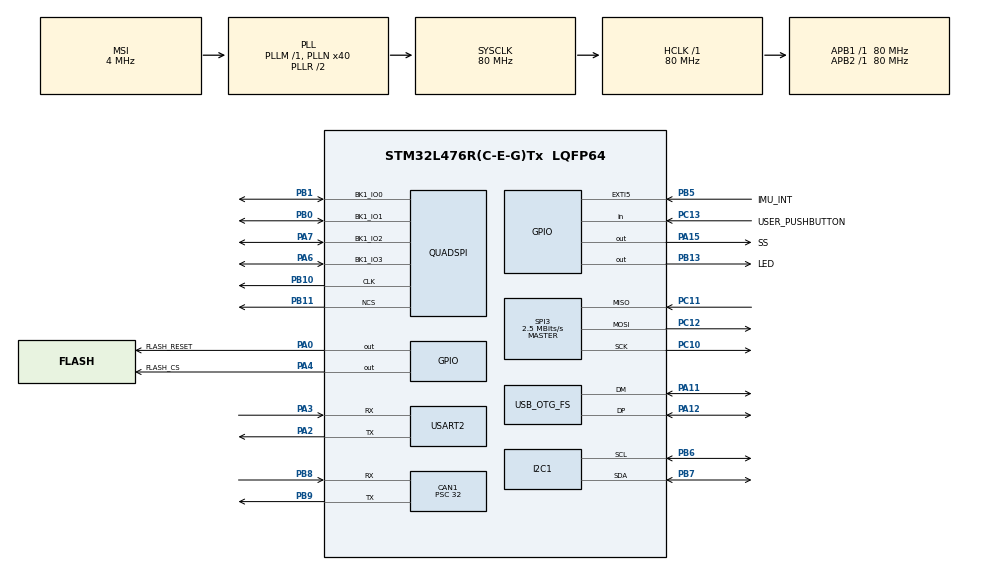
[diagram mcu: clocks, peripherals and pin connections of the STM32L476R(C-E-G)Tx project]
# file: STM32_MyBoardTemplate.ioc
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CAN1.BS1=CAN_BS1_1TQ
CAN1.BS2=CAN_BS2_1TQ
CAN1.CalculateBaudRate=833333
CAN1.CalculateTimeBit=1200
CAN1.CalculateTimeQuantum=400.0
CAN1.Prescaler=32
I2C1.Timing=0x10909CEC
Mcu.Family=STM32L4
Mcu.Name=STM32L476R(C-E-G)Tx
Mcu.Package=LQFP64
NVIC.EXTI9_5_IRQn=true\:0\:0\:false\:false\:true\:true\:true\:true
NVIC.OTG_FS_IRQn=true\:0\:0\:false\:false\:true\:false\:true\:true
NVIC.PriorityGroup=NVIC_PRIORITYGROUP_4
NVIC.SPI3_IRQn=true\:0\:0\:false\:false\:true\:true\:true\:true
PA0.GPIO_Label=FLASH_RESET
PA0.Signal=GPIO_Output
PA11.Mode=Device_Only
PA11.Signal=USB_OTG_FS_DM
PA12.Mode=Device_Only
PA12.Signal=USB_OTG_FS_DP
PA13\ (JTMS-SWDIO).Mode=Serial_Wire
PA13\ (JTMS-SWDIO).Signal=SYS_JTMS-SWDIO
PA14\ (JTCK-SWCLK).Mode=Serial_Wire
PA14\ (JTCK-SWCLK).Signal=SYS_JTCK-SWCLK
PA15\ (JTDI).GPIO_Label=SS
PA15\ (JTDI).Signal=GPIO_Output
PA2.Mode=Asynchronous
PA2.Signal=USART2_TX
PA3.Mode=Asynchronous
PA3.Signal=USART2_RX
PA4.GPIO_Label=FLASH_CS
PA4.Signal=GPIO_Output
PA6.Mode=Single Bank
PA6.Signal=QUADSPI_BK1_IO3
PA7.Mode=Single Bank
PA7.Signal=QUADSPI_BK1_IO2
PB0.Mode=Single Bank
PB0.Signal=QUADSPI_BK1_IO1
PB1.Mode=Single Bank
PB1.Signal=QUADSPI_BK1_IO0
PB10.Mode=Single Bank
PB10.Signal=QUADSPI_CLK
PB11.Mode=Single Bank
PB11.Signal=QUADSPI_NCS
PB13.GPIO_Label=LED
PB13.Signal=GPIO_Output
PB5.GPIO_Label=IMU_INT
PB5.Signal=GPXTI5
PB6.Mode=I2C
PB6.Signal=I2C1_SCL
PB7.Mode=I2C
PB7.Signal=I2C1_SDA
PB8.Mode=CAN_Activate
PB8.Signal=CAN1_RX
PB9.Mode=CAN_Activate
PB9.Signal=CAN1_TX
PC10.Mode=Full_Duplex_Master
PC10.Signal=SPI3_SCK
PC11.Mode=Full_Duplex_Master
PC11.Signal=SPI3_MISO
PC12.Mode=Full_Duplex_Master
PC12.Signal=SPI3_MOSI
PC13.GPIO_Label=USER_PUSHBUTTON
PC13.Signal=GPIO_Input
PC14-OSC32_IN\ (PC14).Mode=LSE-External-Oscillator
PC14-OSC32_IN\ (PC14).Signal=RCC_OSC32_IN
PC15-OSC32_OUT\ (PC15).Mode=LSE-External-Oscillator
PC15-OSC32_OUT\ (PC15).Signal=RCC_OSC32_OUT
PH0-OSC_IN\ (PH0).Mode=HSE-External-Oscillator
PH0-OSC_IN\ (PH0).Signal=RCC_OSC_IN
PH1-OSC_OUT\ (PH1).Mode=HSE-External-Oscillator
PH1-OSC_OUT\ (PH1).Signal=RCC_OSC_OUT
ProjectManager.HeapSize=0x2000
ProjectManager.StackSize=0x400
ProjectManager.TargetToolchain=STM32CubeIDE
RCC.ADCFreq_Value=48000000
RCC.AHBFreq_Value=80000000
RCC.APB1Freq_Value=80000000
RCC.APB1TimFreq_Value=80000000
RCC.APB2Freq_Value=80000000
RCC.APB2TimFreq_Value=80000000
RCC.CortexFreq_Value=80000000
RCC.HCLKFreq_Value=80000000
RCC.HSE_VALUE=25000000
RCC.HSI_VALUE=16000000
RCC.MSI_VALUE=4000000
RCC.PLLN=40
RCC.PLLSAI1N=24
RCC.SYSCLKFreq_VALUE=80000000
RCC.SYSCLKSource=RCC_SYSCLKSOURCE_PLLCLK
RCC.USBFreq_Value=48000000
RCC.VCOOutputFreq_Value=160000000
SPI3.BaudRatePrescaler=SPI_BAUDRATEPRESCALER_32
SPI3.CalculateBaudRate=2.5 MBits/s
SPI3.DataSize=SPI_DATASIZE_8BIT
SPI3.Direction=SPI_DIRECTION_2LINES
SPI3.Mode=SPI_MODE_MASTER
SPI3.NSSPMode=SPI_NSS_PULSE_ENABLE
SPI3.VirtualType=VM_MASTER
USART2.VirtualMode-Asynchronous=VM_ASYNC
USB_DEVICE.CLASS_NAME_FS=CDC
USB_DEVICE.PRODUCT_STRING_CDC_FS=STM32 Virtual PORT
USB_DEVICE.VirtualMode=Cdc
USB_DEVICE.VirtualModeFS=Cdc_FS
USB_OTG_FS.VirtualMode=Device_Only
VP_USB_DEVICE_VS_USB_DEVICE_CDC_FS.Mode=CDC_FS
board=custom

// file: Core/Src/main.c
/* USER CODE BEGIN Header */
/**
  ******************************************************************************
  * @file           : main.c
  * @brief          : Main program body
  ******************************************************************************
  * @attention
  *
  * Copyright (c) 2023 STMicroelectronics.
  * All rights reserved.
  *
  * This software is licensed under terms that can be found in the LICENSE file
  * in the root directory of this software component.
  * If no LICENSE file comes with this software, it is provided AS-IS.
  *
  ******************************************************************************
  */
/* USER CODE END Header */
#include "main.h"
#include "can.h"
#include "i2c.h"
#include "quadspi.h"
#include "spi.h"
#include "usart.h"
#include "usb_device.h"
#include "gpio.h"

/* USER CODE BEGIN Includes */

#include "hexapod_protocol.h"
#include "usbd_cdc_if.h"
#include "string.h"

/* USER CODE END Includes */

void SystemClock_Config(void);

/* USER CODE BEGIN 0 */

// USB Transmission variables
uint8_t HEXAPOD_USB_Receive_Buffer[2048];
uint8_t HEXAPOD_USB_Receive_Flag = 0;
uint32_t HEXAPOD_USB_Receive_Length = 0;

int _write(int file, char *ptr, int len) {
    static uint8_t rc = USBD_OK;

    do {
        rc = CDC_Transmit_FS(ptr, len);
    } while (USBD_BUSY == rc);

    if (USBD_FAIL == rc) {
        /// NOTE: Should never reach here.
        /// TODO: Handle this error.
        return 0;
    }
    return len;
}

/* USER CODE END 0 */

int main(void)
{

  /* MCU Configuration--------------------------------------------------------*/

  /* Reset of all peripherals, Initializes the Flash interface and the Systick. */
  HAL_Init();

  /* Configure the system clock */
  SystemClock_Config();

  /* Initialize all configured peripherals */
  MX_GPIO_Init();
  MX_I2C1_Init();
  MX_CAN1_Init();
  MX_QUADSPI_Init();
  MX_USART2_UART_Init();
  MX_USB_DEVICE_Init();
  MX_SPI3_Init();

  /* Infinite loop */
  /* USER CODE BEGIN WHILE */

  // MODE -> ONE_SERVO
  // SERVO OPERATION = 0 -> Start PWM & Set angle
  // Servo ID = 11
  // Angle = 150.86 deg

  RAW_SPI_Message message;
  HAL_GPIO_WritePin(SS_GPIO_Port, SS_Pin, GPIO_PIN_SET);

  while (1)
  {
      if(HEXAPOD_USB_Receive_Flag == 1) {
          // Copy data to RAW SPI Message buffer
          memcpy(message.pData, HEXAPOD_USB_Receive_Buffer, HEXAPOD_USB_Receive_Length);
          message.dataLength = HEXAPOD_USB_Receive_Length-1;

          // Send data via SPI
          HAL_GPIO_WritePin(SS_GPIO_Port, SS_Pin, GPIO_PIN_RESET);
          sendSPIBlocking(&hspi3, &message);
          HAL_GPIO_TogglePin(LED_GPIO_Port, LED_Pin);
          HAL_GPIO_WritePin(SS_GPIO_Port, SS_Pin, GPIO_PIN_SET);

          // Optionally transmit ack to master device
          //printf("Acknowledged\r\n");

          // Reset USB Receive flag
          HEXAPOD_USB_Receive_Flag = 0;

          // Reset variables to default values
          memset(HEXAPOD_USB_Receive_Buffer, 0, 2048);

          HEXAPOD_USB_Receive_Length = 0;
      }
    /* USER CODE END WHILE */

  }
}

void SystemClock_Config(void)
{
  RCC_OscInitTypeDef RCC_OscInitStruct = {0};
  RCC_ClkInitTypeDef RCC_ClkInitStruct = {0};

  /** Configure the main internal regulator output voltage
  */
  if (HAL_PWREx_ControlVoltageScaling(PWR_REGULATOR_VOLTAGE_SCALE1) != HAL_OK)
  {
    Error_Handler();
  }

  /** Configure LSE Drive Capability
  */
  HAL_PWR_EnableBkUpAccess();
  __HAL_RCC_LSEDRIVE_CONFIG(RCC_LSEDRIVE_LOW);

  /** Initializes the RCC Oscillators according to the specified parameters
  * in the RCC_OscInitTypeDef structure.
  */
  RCC_OscInitStruct.OscillatorType = RCC_OSCILLATORTYPE_LSE|RCC_OSCILLATORTYPE_MSI;
  RCC_OscInitStruct.LSEState = RCC_LSE_ON;
  RCC_OscInitStruct.MSIState = RCC_MSI_ON;
  RCC_OscInitStruct.MSICalibrationValue = 0;
  RCC_OscInitStruct.MSIClockRange = RCC_MSIRANGE_6;
  RCC_OscInitStruct.PLL.PLLState = RCC_PLL_ON;
  RCC_OscInitStruct.PLL.PLLSource = RCC_PLLSOURCE_MSI;
  RCC_OscInitStruct.PLL.PLLM = 1;
  RCC_OscInitStruct.PLL.PLLN = 40;
  RCC_OscInitStruct.PLL.PLLP = RCC_PLLP_DIV7;
  RCC_OscInitStruct.PLL.PLLQ = RCC_PLLQ_DIV2;
  RCC_OscInitStruct.PLL.PLLR = RCC_PLLR_DIV2;
  if (HAL_RCC_OscConfig(&RCC_OscInitStruct) != HAL_OK)
  {
    Error_Handler();
  }

  /** Initializes the CPU, AHB and APB buses clocks
  */
  RCC_ClkInitStruct.ClockType = RCC_CLOCKTYPE_HCLK|RCC_CLOCKTYPE_SYSCLK
                              |RCC_CLOCKTYPE_PCLK1|RCC_CLOCKTYPE_PCLK2;
  RCC_ClkInitStruct.SYSCLKSource = RCC_SYSCLKSOURCE_PLLCLK;
  RCC_ClkInitStruct.AHBCLKDivider = RCC_SYSCLK_DIV1;
  RCC_ClkInitStruct.APB1CLKDivider = RCC_HCLK_DIV1;
  RCC_ClkInitStruct.APB2CLKDivider = RCC_HCLK_DIV1;

  if (HAL_RCC_ClockConfig(&RCC_ClkInitStruct, FLASH_LATENCY_4) != HAL_OK)
  {
    Error_Handler();
  }

  /** Enable MSI Auto calibration
  */
  HAL_RCCEx_EnableMSIPLLMode();
}

void Error_Handler(void)
{
  __disable_irq();
  while (1)
  {
  }
}
